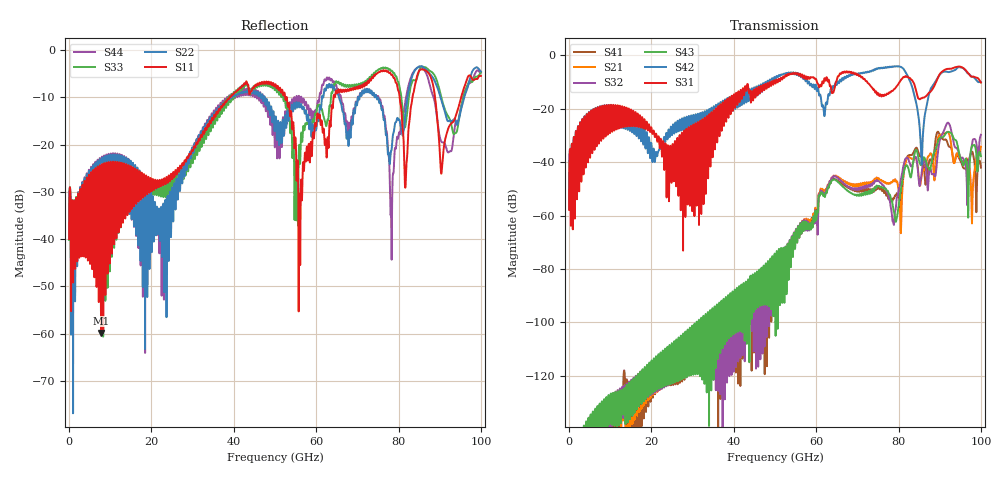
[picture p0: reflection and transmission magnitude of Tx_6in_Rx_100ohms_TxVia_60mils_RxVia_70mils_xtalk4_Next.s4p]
! Info: Touchstone file created by Circ.  Input file=Tx_6in_Rx_100ohms_TxVia_60mils_RxVia_70mils.circ
# Hz S RI R 50
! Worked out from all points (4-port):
!   10000 points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, 10 MHz to 100 GHz, reference 50 ohm
!   strongest paths, dB at 10 MHz, 25.01 GHz, 50.01 GHz, 75.01 GHz, 100 GHz:
!     S31: -57.8, -35.9, -10.1, -14.2, -10.2
!     S42: -57.3, -29.8, -8.7, -5.0, -10.0
!     S43: -159.1, -108.0, -76.1, -49.1, -37.7
!     S32: -194.4, -108.4, -76.9, -47.1, -29.7
!     S21: -195.5, -108.9, -78.3, -46.2, -34.2
!     S41: -160.9, -108.6, -78.1, -49.6, -42.0
!   lowest |S11| = -59.8 dB at 7.75 GHz (marker M1), VSWR 1.00, Z = 49.9 + j0.0771 ohm
!   |S11| at or under -10 dB: start of sweep to 38.99 GHz; 52.85 GHz to 64.22 GHz (11.36 GHz wide, 19.4 % of centre); 88.87 GHz to 95.21 GHz (6.337 GHz wide, 6.88 % of centre)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
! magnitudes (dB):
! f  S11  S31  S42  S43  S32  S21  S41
! 10 MHz  -40.0  -57.8  -57.3  -159.1  -194.4  -195.5  -160.9
! 7.75 GHz  -59.8  -30.5  -27.7  -137.9  -139.0  -141.6  -140.2
! 49.29 GHz  -7.4  -9.7  -8.6  -76.4  -78.0  -79.9  -78.9
! 62.91 GHz  -19.5  -9.6  -14.9  -49.5  -48.7  -48.4  -49.2
! 78.33 GHz  -5.3  -13.3  -4.2  -54.4  -58.7  -47.5  -54.0
! 85.59 GHz  -4.1  -16.1  -40.4  -40.8  -44.2  -45.5  -38.0
! 100 GHz  -5.5  -10.2  -10.0  -37.7  -29.7  -34.2  -42.0
